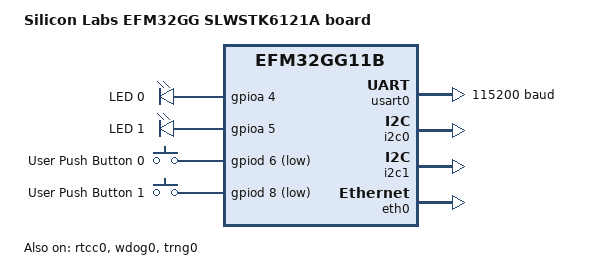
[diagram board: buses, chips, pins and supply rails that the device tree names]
/*
 * Copyright (c) 2019 Interay Solutions B.V.
 * Copyright (c) 2019 Oane Kingma
 * Copyright (c) 2020 Thorvald Natvig
 *
 * SPDX-License-Identifier: Apache-2.0
 */

/dts-v1/;
#include <silabs/efm32gg11b820f2048gl192.dtsi>
#include <zephyr/dt-bindings/input/input-event-codes.h>
#include "slwrb4321a-pinctrl.dtsi"

/ {
	model = "Silicon Labs EFM32GG SLWSTK6121A board";
	compatible = "silabs,slwrb4321a", "silabs,efm32gg11b";

	chosen {
		zephyr,console = &usart0;
		zephyr,shell-uart = &usart0;
		zephyr,sram = &sram0;
		zephyr,flash = &flash0;
	};

	/* These aliases are provided for compatibility with samples */
	aliases {
		led0 = &led0;
		led1 = &led1;
		sw0 = &button0;
		sw1 = &button1;
		watchdog0 = &wdog0;
	};

	leds {
		compatible = "gpio-leds";
		led0: led_0 {
			gpios = <&gpioa 4 0>;
			label = "LED 0";
		};
		led1: led_1 {
			gpios = <&gpioa 5 0>;
			label = "LED 1";
		};
	};

	buttons {
		compatible = "gpio-keys";
		button0: button_0 {
			/* gpio flags need validation */
			gpios = <&gpiod 6 GPIO_ACTIVE_LOW>;
			label = "User Push Button 0";
			zephyr,code = <INPUT_KEY_0>;
		};
		button1: button_1 {
			/* gpio flags need validation */
			gpios = <&gpiod 8 GPIO_ACTIVE_LOW>;
			label = "User Push Button 1";
			zephyr,code = <INPUT_KEY_1>;
		};
	};
};

/* Connected to the WSTK VCOM */
&usart0 {
	current-speed = <115200>;
	pinctrl-0 = <&usart0_default>;
	pinctrl-names = "default";
	status = "okay";
};

/* i2c unit 0 is not used on the board, but must be defined for i2c unit 1
 * to work properly.
 */
&i2c0 {
	pinctrl-0 = <&i2c0_default>;
	pinctrl-names = "default";
	status = "okay";
};

/* Connected to Si7021 sensor on WSTK */
&i2c1 {
	pinctrl-0 = <&i2c1_default>;
	pinctrl-names = "default";
	status = "okay";
};

&rtcc0 {
	prescaler = <1>;
	status = "okay";
};

&gpio {
	location-swo = <0>;
	status = "okay";
};

&gpioa {
	status = "okay";
};

&gpiob {
	status = "okay";
};

&gpioc {
	status = "okay";
};

&gpiod {
	status = "okay";
};

&gpioe {
	status = "okay";
};

&gpiof {
	status = "okay";
};

&eth0 {
	/* PHY address = 0 */
	phy-address = <0>;

	/* PHY management pins */
	location-mdio        = <GECKO_LOCATION(3)>;
	location-phy_mdc     = <GECKO_LOCATION(3) GECKO_PORT_A GECKO_PIN(6)>;
	location-phy_mdio    = <GECKO_LOCATION(3) GECKO_PORT_A GECKO_PIN(15)>;

	/* RMII interface pins */
	location-rmii        = <GECKO_LOCATION(0)>;
	location-rmii_refclk = <GECKO_LOCATION(0) GECKO_PORT_A GECKO_PIN(3)>;
	location-rmii_crs_dv = <GECKO_LOCATION(0) GECKO_PORT_A GECKO_PIN(4)>;
	location-rmii_txd0   = <GECKO_LOCATION(0) GECKO_PORT_E GECKO_PIN(15)>;
	location-rmii_txd1   = <GECKO_LOCATION(0) GECKO_PORT_E GECKO_PIN(14)>;
	location-rmii_tx_en  = <GECKO_LOCATION(0) GECKO_PORT_A GECKO_PIN(0)>;
	location-rmii_rxd0   = <GECKO_LOCATION(0) GECKO_PORT_A GECKO_PIN(2)>;
	location-rmii_rxd1   = <GECKO_LOCATION(0) GECKO_PORT_A GECKO_PIN(1)>;
	location-rmii_rx_er  = <GECKO_LOCATION(0) GECKO_PORT_A GECKO_PIN(5)>;

	status = "okay";
};

&flash0 {

	partitions {
		compatible = "fixed-partitions";
		#address-cells = <1>;
		#size-cells = <1>;

		/* Set 12Kb of storage at the end of the 2048Kb of flash */
		storage_partition: partition@1fd000 {
			label = "storage";
			reg = <0x001fd000 0x00003000>;
		};
	};
};

&wdog0 {
	status = "okay";
};

&trng0 {
	status = "okay";
};

&cpu0 {
	clock-frequency = <72000000>;
};
